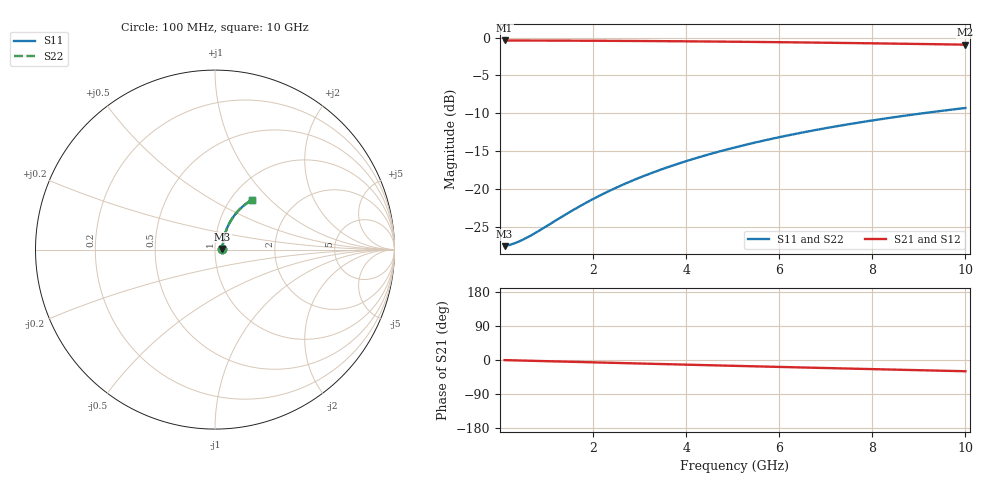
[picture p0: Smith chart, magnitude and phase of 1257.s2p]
# Hz S RI R 50.00
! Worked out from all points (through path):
!   100 points, 100 MHz to 10 GHz, reference 50 ohm
!   highest |S21| = -0.37 dB at 100 MHz (marker M1); lowest = -0.9 dB at 10 GHz (marker M2)
!   group delay of S21, straight-line fit = 8.26 ps
!   lowest |S11| = -27.6 dB at 100 MHz (marker M3), VSWR 1.09, Z = 54.3 + j0.381 ohm
!   |S11| at or under -10 dB: start of sweep to 9.083 GHz
!   |S22| runs from -27.6 to -9.3 dB; largest |S21 - S12| = 0
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1e8  0.0417 0.00349  0.9583 -0.00518  0.9583 -0.00518  0.0417 0.00349
2e8  0.042 0.00698  0.958 -0.0103  0.958 -0.0103  0.042 0.00698
3e8  0.0423 0.0105  0.9577 -0.0155  0.9577 -0.0155  0.0423 0.0105
4e8  0.0426 0.014  0.9574 -0.0207  0.9574 -0.0207  0.0426 0.014
6e8  0.0432 0.0209  0.9567 -0.031  0.9567 -0.031  0.0432 0.0209
8e8  0.0439 0.0278  0.956 -0.0413  0.956 -0.0413  0.0439 0.0278
1.5e9  0.0475 0.0519  0.9522 -0.0772  0.9522 -0.0772  0.0475 0.0519
1.8e9  0.0495 0.0621  0.95 -0.0924  0.95 -0.0924  0.0495 0.0621
2.2e9  0.0526 0.0756  0.9466 -0.1126  0.9466 -0.1126  0.0526 0.0756
2.6e9  0.0564 0.0889  0.9426 -0.1327  0.9426 -0.1327  0.0564 0.0889
3e9  0.0606 0.102  0.9381 -0.1525  0.9381 -0.1525  0.0606 0.102
3.4e9  0.0654 0.1149  0.9329 -0.1721  0.9329 -0.1721  0.0654 0.1149
3.8e9  0.0707 0.1275  0.9272 -0.1915  0.9272 -0.1915  0.0707 0.1275
4.2e9  0.0765 0.1398  0.9209 -0.2105  0.9209 -0.2105  0.0765 0.1398
4.6e9  0.0828 0.1518  0.9141 -0.2293  0.9141 -0.2293  0.0828 0.1518
5.1e9  0.0913 0.1664  0.9049 -0.2523  0.9049 -0.2523  0.0913 0.1664
5.9e9  0.1063 0.1885  0.8885 -0.288  0.8885 -0.288  0.1063 0.1885
6.7e9  0.1229 0.209  0.8704 -0.3221  0.8704 -0.3221  0.1229 0.209
7.5e9  0.1409 0.2279  0.8507 -0.3546  0.8507 -0.3546  0.1409 0.2279
8.4e9  0.1626 0.2471  0.8269 -0.3891  0.8269 -0.3891  0.1626 0.2471
9.2e9  0.1829 0.2621  0.8045 -0.4179  0.8045 -0.4179  0.1829 0.2621
1e10  0.204 0.2754  0.7811 -0.4448  0.7811 -0.4448  0.204 0.2754
